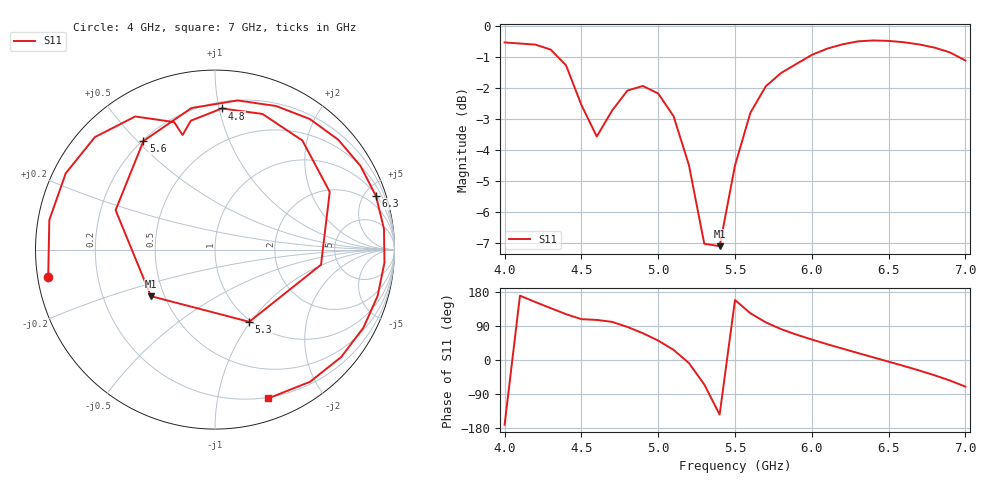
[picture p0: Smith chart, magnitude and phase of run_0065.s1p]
! Touchstone file exported from HFSS 2024.2.0
!  File:  C:/Users/wsak9/Desktop/Sim Fast/Widenad Patch/WP_AI_V1_sweep.aedt
!  Generated:  05:39:06 PM Oct 13, 2026
!  Design:  A1_model
!  Project:  WP_AI_V1_sweep
!  Setup:  Setup1
!  Solution:  Sweep
! Variables:
!  Air_gap = 3.45mm
!  Curve_Amp1 = 3.83
!  Curve_len1 = 1
!  Curve_pos = 11.93mm
!  Extra = 1.05mm
!  H_sub = 0.79mm
!  L_Patch = 19.86mm
!  L_Patch1 = 14.36mm
!  Sx = 0.77mm
!  Sy = 1.77mm
!  WS = 0.45mm
!  W_Patch = 22.42mm
!  W_Patch1 = 13.31mm
!Data is not renormalized
# GHz S MA
! Terminal data exported
! Port[1] = 1
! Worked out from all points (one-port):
!   31 points, 4 GHz to 7 GHz, reference per port
!   lowest |S11| = -7.1 dB at 5.4 GHz (marker M1), VSWR 2.58
!   |S11| at or under -10 dB: nowhere
!   S11 on the Smith chart (normalised r, x): 4 GHz: 0.03, -0.08; 4.8 GHz: 0.25, +1.02; 5.3 GHz: 0.98, -0.99; 5.6 GHz: 0.20, +0.52; 6.3 GHz: 1.07, +5.98; 7 GHz: 0.19, -1.40
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4  0.9415 -170.8
4.1  0.9376 169.9
4.2  0.934 152.9
4.3  0.9168 136.8
4.4  0.8646 120.9
4.5  0.7461 107.8
4.6  0.6635 105.8
4.7  0.7309 100.6
4.8  0.7873 87.2
4.9  0.8008 70.7
5  0.7786 51.3
5.1  0.7156 26.7
5.2  0.5967 -8.1
5.3  0.4453 -64.6
5.4  0.4413 -144.0
5.5  0.5958 158.4
5.6  0.7246 123.4
5.7  0.7996 99.4
5.8  0.8404 81.4
5.9  0.8692 67.0
6  0.8989 54.1
6.1  0.92 41.7
6.3  0.9453 18.4
6.5  0.947 -4.4
6.7  0.9345 -27.8
6.8  0.9234 -40.4
6.9  0.9071 -54.3
7  0.8803 -70.2
